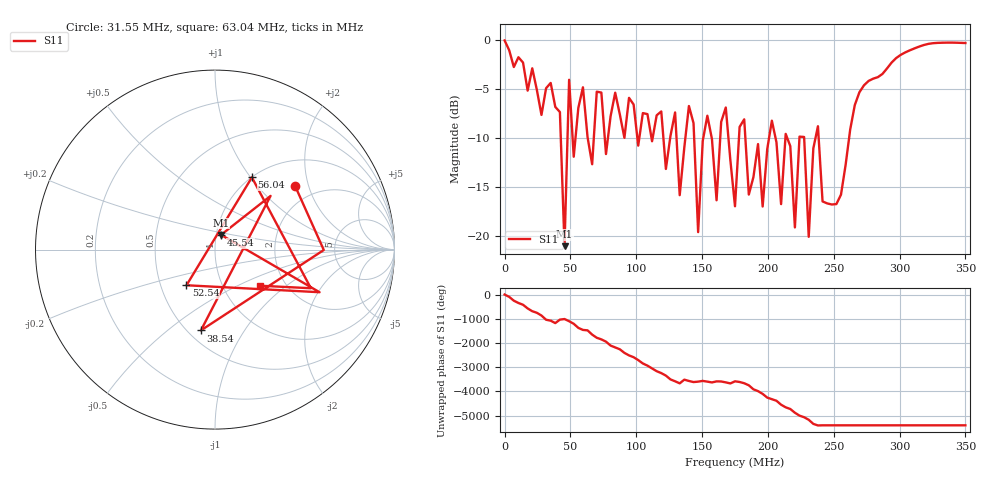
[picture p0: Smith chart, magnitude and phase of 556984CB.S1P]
!File created by NanoVNA
# Hz S RI R 50
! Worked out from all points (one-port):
!   101 points, 50 kHz to 350 MHz, reference 50 ohm
!   lowest |S11| = -21.0 dB at 45.54 MHz (marker M1), VSWR 1.19, Z = 52.7 + j8.73 ohm
!   |S11| at or under -10 dB: 130.6 MHz to 137.3 MHz (6.684 MHz wide, 4.99 % of centre); 182.9 MHz to 200.9 MHz (17.95 MHz wide, 9.35 % of centre); 238.6 MHz to 261.7 MHz (23.08 MHz wide, 9.23 % of centre) (the widest 3 of 16)
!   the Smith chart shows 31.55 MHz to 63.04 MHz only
!   S11 on the Smith chart (normalised r, x): 31.55 MHz: 1.57, +1.64; 38.54 MHz: 0.58, -0.66; 45.54 MHz: 1.05, +0.17; 52.54 MHz: 0.68, -0.29; 56.04 MHz: 1.00, +1.01; 63.04 MHz: 1.49, -0.67
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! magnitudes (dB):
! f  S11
! 50 kHz  0.0
! 31.55 MHz  -4.9
! 38.54 MHz  -6.8
! 45.54 MHz  -21.0
! 49.04 MHz  -4.0
! 52.54 MHz  -11.9
! 56.04 MHz  -6.9
! 63.04 MHz  -9.9
! 87.54 MHz  -7.6
! 129.5 MHz  -7.4
! 133 MHz  -15.8
! 140 MHz  -6.7
! 147 MHz  -19.6
! 154 MHz  -7.7
! 161 MHz  -16.3
! 168 MHz  -6.9
! 175 MHz  -17.0
! 178.5 MHz  -8.8
! 196 MHz  -17.0
! 203 MHz  -8.2
! 220.5 MHz  -19.1
! 224 MHz  -9.8
! 231 MHz  -20.1
! 238 MHz  -8.8
! 248.5 MHz  -16.8
! 262.5 MHz  -9.1
! 308 MHz  -1.0
! 350 MHz  -0.3
